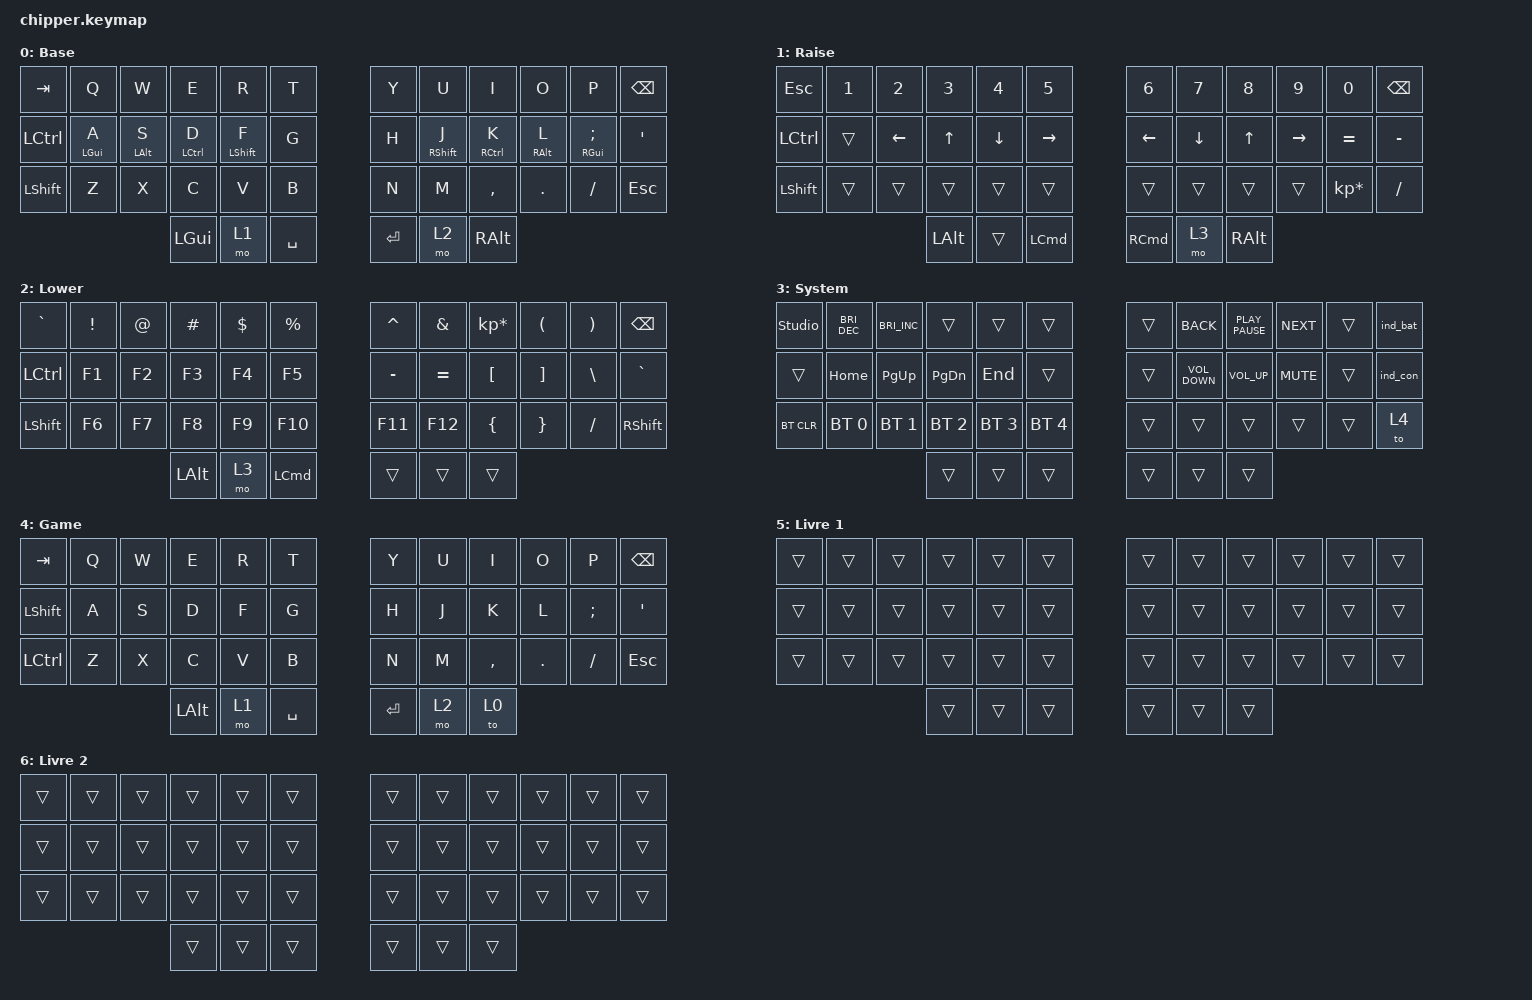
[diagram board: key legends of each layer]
/*
 * Corne 6-col (shield chipper) - 42 posicoes
 *
 * Ordem das posicoes (usada pelos combos):
 *   linha 0:  0..11
 *   linha 1: 12..23
 *   linha 2: 24..35
 *   linha 3: 36..38 (esq) | 39..41 (dir)
 */

#include <behaviors.dtsi>
#include <dt-bindings/zmk/bt.h>
#include <dt-bindings/zmk/keys.h>

// behaviors &ind_bat / &ind_con do modulo zmk-rgbled-widget
#include <behaviors/rgbled_widget.dtsi>

/ {
  behaviors {
    hm: homerow_mods {
      compatible = "zmk,behavior-hold-tap";
      label = "HOMEROW_MODS";
      #binding-cells = <2>;
      // 280ms: folga suficiente pra digitacao normal nao virar modificador.
      flavor = "balanced";
      tapping-term-ms = <280>;
      // ignora o hold nos primeiros 150ms depois de qualquer tecla: e o que
      // impede o disparo acidental no meio de uma palavra.
      require-prior-idle-ms = <150>;
      // segurar logo apos tocar a mesma tecla repete a letra em vez de segurar o mod.
      quick-tap-ms = <175>;
      bindings = <&kp>, <&kp>;
    };
  };

  combos {
    compatible = "zmk,combos";

    tab       { bindings = <&trans>;         key-positions = <2 3>; };
    ctrl      { bindings = <&kp LCTRL>;      key-positions = <26 27>; };
    cmd       { bindings = <&kp LCMD>;       key-positions = <37 38>; };
    alt       { bindings = <&kp LEFT_ALT>;   key-positions = <39 40>; };
    shift     { bindings = <&kp LSHIFT>;     key-positions = <8 9>; };
    caps_word { bindings = <&caps_word>;     key-positions = <17 18>; };
    delete    { bindings = <&kp DEL>;        key-positions = <32 33>; };
  };

  macros {
    zed_em_kay: zed_em_kay {
      compatible = "zmk,behavior-macro";
      label = "ZM_zed_em_kay";
      #binding-cells = <0>;
      bindings =
        <&macro_press>,
        <&kp LSHFT>,
        <&macro_tap>,
        <&kp Z &kp M &kp K>,
        <&macro_release>,
        <&kp LSHFT>;
    };
  };

  keymap {
    compatible = "zmk,keymap";

    base {
      display-name = "Base";
      bindings = <
&kp TAB    &kp Q       &kp W       &kp E        &kp R         &kp T        &kp Y    &kp U         &kp I        &kp O       &kp P          &kp BACKSPACE
&kp LCTRL  &hm LGUI A  &hm LALT S  &hm LCTRL D  &hm LSHIFT F  &kp G        &kp H    &hm RSHIFT J  &hm RCTRL K  &hm RALT L  &hm RGUI SEMI  &kp APOS
&kp LSHFT  &kp Z       &kp X       &kp C        &kp V         &kp B        &kp N    &kp M         &kp COMMA    &kp DOT     &kp FSLH       &kp ESC
                                   &kp LGUI     &mo 1         &kp SPACE    &kp RET  &mo 2         &kp RALT
      >;
    };

    raise {
      display-name = "Raise";
      bindings = <
&kp ESC           &kp N1  &kp N2          &kp N3        &kp N4          &kp N5              &kp N6             &kp N7          &kp N8         &kp N9           &kp N0           &kp BACKSPACE
&kp LEFT_CONTROL  &trans  &kp LEFT_ARROW  &kp UP_ARROW  &kp DOWN_ARROW  &kp RIGHT_ARROW     &kp LEFT_ARROW     &kp DOWN_ARROW  &kp UP_ARROW   &kp RIGHT_ARROW  &kp EQUAL        &kp MINUS
&kp LEFT_SHIFT    &trans  &trans          &trans        &trans          &trans              &trans             &trans          &trans         &trans           &kp KP_MULTIPLY  &kp SLASH
                                          &kp LEFT_ALT  &trans          &kp LEFT_COMMAND    &kp RIGHT_COMMAND  &mo 3           &kp RIGHT_ALT
      >;
    };

    lower {
      display-name = "Lower";
      bindings = <
&kp GRAVE         &kp EXCL  &kp AT  &kp HASH      &kp DLLR  &kp PRCNT           &kp CARET  &kp AMPS   &kp KP_MULTIPLY  &kp LPAR  &kp RPAR   &kp BACKSPACE
&kp LEFT_CONTROL  &kp F1    &kp F2  &kp F3        &kp F4    &kp F5              &kp MINUS  &kp EQUAL  &kp LBKT         &kp RBKT  &kp BSLH   &kp GRAVE
&kp LEFT_SHIFT    &kp F6    &kp F7  &kp F8        &kp F9    &kp F10             &kp F11    &kp F12    &kp LBRC         &kp RBRC  &kp SLASH  &kp RIGHT_SHIFT
                                    &kp LEFT_ALT  &mo 3     &kp LEFT_COMMAND    &trans     &trans     &trans
      >;
    };

    both {
      display-name = "System";
      bindings = <
&studio_unlock  &kp C_BRIGHTNESS_DEC  &kp C_BRIGHTNESS_INC  &trans         &trans        &trans          &trans  &kp K_BACK         &kp K_PLAY_PAUSE  &kp K_NEXT  &trans  &ind_bat
&trans          &kp HOME              &kp PAGE_UP           &kp PAGE_DOWN  &kp END       &trans          &trans  &kp C_VOLUME_DOWN  &kp C_VOLUME_UP   &kp K_MUTE  &trans  &ind_con
&bt BT_CLR      &bt BT_SEL 0          &bt BT_SEL 1          &bt BT_SEL 2   &bt BT_SEL 3  &bt BT_SEL 4    &trans  &trans             &trans            &trans      &trans  &to 4
                                                            &trans         &trans        &trans          &trans  &trans             &trans
      >;
    };

    // Modo jogo: QWERTY puro, SEM home row mods (num jogo eles disparariam
    // modificador sem querer). Sai com a tecla `Base` no canto inferior direito.
    game {
      display-name = "Game";
      bindings = <
&kp TAB    &kp Q  &kp W  &kp E     &kp R   &kp T        &kp Y    &kp U   &kp I      &kp O    &kp P     &kp BACKSPACE
&kp LSHFT  &kp A  &kp S  &kp D     &kp F   &kp G        &kp H    &kp J   &kp K      &kp L    &kp SEMI  &kp APOS
&kp LCTRL  &kp Z  &kp X  &kp C     &kp V   &kp B        &kp N    &kp M   &kp COMMA  &kp DOT  &kp FSLH  &kp ESC
                         &kp LALT  &mo 1   &kp SPACE    &kp RET  &mo 2   &to 0
      >;
    };

    // Camadas livres: existem no firmware para o ZMK Studio poder edita-las
    // sem precisar recompilar. Vazias de proposito.
    spare1 {
      display-name = "Livre 1";
      bindings = <
&trans  &trans  &trans  &trans  &trans  &trans    &trans  &trans  &trans  &trans  &trans  &trans
&trans  &trans  &trans  &trans  &trans  &trans    &trans  &trans  &trans  &trans  &trans  &trans
&trans  &trans  &trans  &trans  &trans  &trans    &trans  &trans  &trans  &trans  &trans  &trans
                        &trans  &trans  &trans    &trans  &trans  &trans
      >;
    };

    spare2 {
      display-name = "Livre 2";
      bindings = <
&trans  &trans  &trans  &trans  &trans  &trans    &trans  &trans  &trans  &trans  &trans  &trans
&trans  &trans  &trans  &trans  &trans  &trans    &trans  &trans  &trans  &trans  &trans  &trans
&trans  &trans  &trans  &trans  &trans  &trans    &trans  &trans  &trans  &trans  &trans  &trans
                        &trans  &trans  &trans    &trans  &trans  &trans
      >;
    };
  };
};
